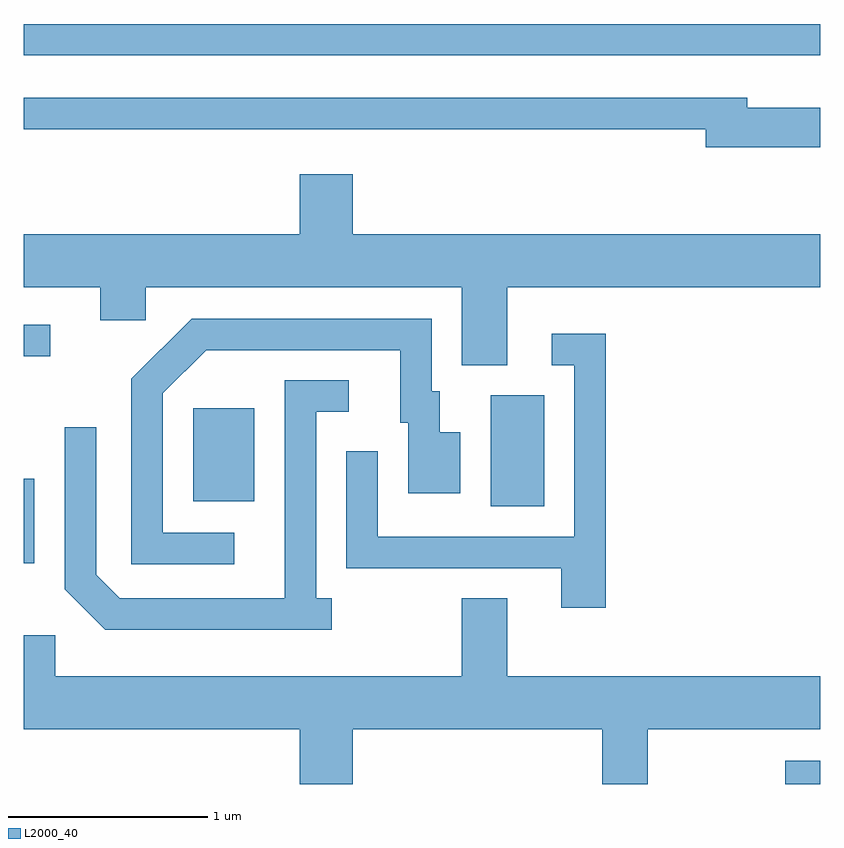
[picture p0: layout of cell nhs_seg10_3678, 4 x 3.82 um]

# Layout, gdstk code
import gdstk
lib = gdstk.Library(unit=1e-6, precision=1e-09)
def R(c, l, rs):  # rectangles x0, y0, x1, y1
    for r in rs: c.add(gdstk.rectangle(r[:2], r[2:], *l))
def P(c, l, *ps):  # polygons
    for p in ps: c.add(gdstk.Polygon(p, *l))
L2000_40 = (2000, 40)

nhs_seg10_3678 = lib.new_cell('nhs_seg10_3678')
R(nhs_seg10_3678, L2000_40, [(297.436,2122.522,297.611,2122.639), (293.611,2123.631,293.664,2124.054), (295.956,2123.916,296.224,2124.474), (294.461,2123.941,294.769,2124.409), (293.611,2124.671,293.743,2124.829), (293.611,2126.181,297.611,2126.339)])
P(nhs_seg10_3678, L2000_40, [(297.611,2125.919),(297.244,2125.919),(297.244,2125.969),(293.611,2125.969),(293.611,2125.811),(297.036,2125.811),(297.036,2125.721),(297.611,2125.721)],
  [(296.039,2125.016),(297.611,2125.016),(297.611,2125.284),(295.264,2125.284),(295.264,2125.584),(294.996,2125.584),(294.996,2125.284),(293.611,2125.284),(293.611,2125.016),(293.996,2125.016),(293.996,2124.851),(294.224,2124.851),(294.224,2125.016),(295.811,2125.016),(295.811,2124.626),(296.039,2124.626)],
  [(294.668,2123.784),(294.309,2123.784),(294.309,2124.484),(294.527,2124.701),(295.501,2124.701),(295.501,2124.336),(295.541,2124.336),(295.541,2123.981),(295.804,2123.981),(295.804,2124.289),(295.699,2124.289),(295.699,2124.494),(295.659,2124.494),(295.659,2124.859),(294.454,2124.859),(294.151,2124.557),(294.151,2123.626),(294.668,2123.626)],
  [(296.534,2124.784),(296.263,2124.784),(296.263,2124.626),(296.376,2124.626),(296.376,2123.764),(295.389,2123.764),(295.389,2124.193),(295.231,2124.193),(295.231,2123.606),(296.311,2123.606),(296.311,2123.406),(296.534,2123.406)],
  [(295.158,2123.454),(295.079,2123.454),(295.079,2124.391),(295.243,2124.391),(295.243,2124.549),(294.921,2124.549),(294.921,2123.454),(294.092,2123.454),(293.974,2123.572),(293.974,2124.313),(293.816,2124.313),(293.816,2123.499),(294.019,2123.296),(295.158,2123.296)],
  [(295.264,2122.796),(296.516,2122.796),(296.516,2122.522),(296.744,2122.522),(296.744,2122.796),(297.611,2122.796),(297.611,2123.064),(296.039,2123.064),(296.039,2123.454),(295.811,2123.454),(295.811,2123.064),(293.769,2123.064),(293.769,2123.269),(293.611,2123.269),(293.611,2122.796),(294.996,2122.796),(294.996,2122.522),(295.264,2122.522)])

lib.write_gds('nhs_seg10_3678.gds')
